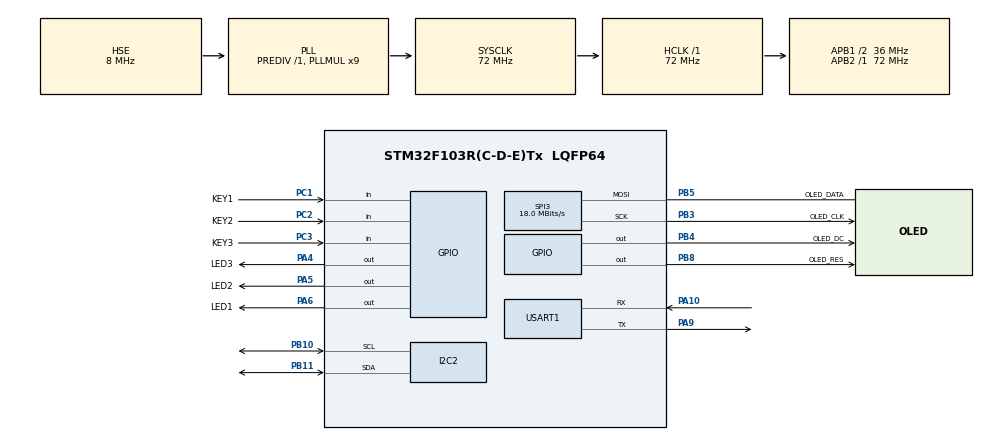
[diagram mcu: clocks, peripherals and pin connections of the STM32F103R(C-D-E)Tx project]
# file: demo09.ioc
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Dma.Request0=USART1_RX
Dma.Request1=USART1_TX
Dma.USART1_RX.0.Direction=DMA_PERIPH_TO_MEMORY
Dma.USART1_RX.0.Instance=DMA1_Channel5
Dma.USART1_RX.0.MemDataAlignment=DMA_MDATAALIGN_BYTE
Dma.USART1_RX.0.MemInc=DMA_MINC_ENABLE
Dma.USART1_RX.0.Mode=DMA_NORMAL
Dma.USART1_RX.0.PeriphDataAlignment=DMA_PDATAALIGN_BYTE
Dma.USART1_RX.0.PeriphInc=DMA_PINC_DISABLE
Dma.USART1_RX.0.Priority=DMA_PRIORITY_LOW
Dma.USART1_TX.1.Direction=DMA_MEMORY_TO_PERIPH
Dma.USART1_TX.1.Instance=DMA1_Channel4
Dma.USART1_TX.1.MemDataAlignment=DMA_MDATAALIGN_BYTE
Dma.USART1_TX.1.MemInc=DMA_MINC_ENABLE
Dma.USART1_TX.1.Mode=DMA_NORMAL
Dma.USART1_TX.1.PeriphDataAlignment=DMA_PDATAALIGN_BYTE
Dma.USART1_TX.1.PeriphInc=DMA_PINC_DISABLE
Dma.USART1_TX.1.Priority=DMA_PRIORITY_LOW
FREERTOS.Tasks01=defaultTask,24,128,StartDefaultTask,Default,NULL,Dynamic,NULL,NULL
FREERTOS.configTOTAL_HEAP_SIZE=16384
Mcu.Family=STM32F1
Mcu.Name=STM32F103R(C-D-E)Tx
Mcu.Package=LQFP64
NVIC.DMA1_Channel4_IRQn=true\:5\:0\:false\:false\:true\:true\:false\:true
NVIC.DMA1_Channel5_IRQn=true\:5\:0\:false\:false\:true\:true\:false\:true
NVIC.PriorityGroup=NVIC_PRIORITYGROUP_4
NVIC.TIM7_IRQn=true\:14\:0\:true\:false\:true\:false\:false\:true
NVIC.TimeBase=TIM7_IRQn
NVIC.TimeBaseIP=TIM7
NVIC.USART1_IRQn=true\:5\:0\:false\:false\:true\:true\:true\:true
PA10.Mode=Asynchronous
PA10.Signal=USART1_RX
PA13.Mode=Serial_Wire
PA13.Signal=SYS_JTMS-SWDIO
PA14.Mode=Serial_Wire
PA14.Signal=SYS_JTCK-SWCLK
PA4.GPIO_Label=LED3
PA4.GPIO_ModeDefaultOutputPP=GPIO_MODE_OUTPUT_PP
PA4.GPIO_PuPd=GPIO_PULLUP
PA4.PinState=GPIO_PIN_SET
PA4.Signal=GPIO_Output
PA5.GPIO_Label=LED2
PA5.GPIO_ModeDefaultOutputPP=GPIO_MODE_OUTPUT_PP
PA5.GPIO_PuPd=GPIO_PULLUP
PA5.PinState=GPIO_PIN_SET
PA5.Signal=GPIO_Output
PA6.GPIO_Label=LED1
PA6.GPIO_ModeDefaultOutputPP=GPIO_MODE_OUTPUT_PP
PA6.GPIO_PuPd=GPIO_PULLUP
PA6.PinState=GPIO_PIN_SET
PA6.Signal=GPIO_Output
PA9.Mode=Asynchronous
PA9.Signal=USART1_TX
PB10.Mode=I2C
PB10.Signal=I2C2_SCL
PB11.Mode=I2C
PB11.Signal=I2C2_SDA
PB3.GPIO_Label=OLED_CLK
PB3.Mode=Simplex_Bidirectional_Master
PB3.Signal=SPI3_SCK
PB4.GPIO_Label=OLED_DC
PB4.Signal=GPIO_Output
PB5.GPIO_Label=OLED_DATA
PB5.Mode=Simplex_Bidirectional_Master
PB5.Signal=SPI3_MOSI
PB8.GPIO_Label=OLED_RES
PB8.Signal=GPIO_Output
PC1.GPIO_Label=KEY1
PC1.Signal=GPIO_Input
PC2.GPIO_Label=KEY2
PC2.Signal=GPIO_Input
PC3.GPIO_Label=KEY3
PC3.Signal=GPIO_Input
PD0-OSC_IN.Mode=HSE-External-Oscillator
PD0-OSC_IN.Signal=RCC_OSC_IN
PD1-OSC_OUT.Mode=HSE-External-Oscillator
PD1-OSC_OUT.Signal=RCC_OSC_OUT
ProjectManager.HeapSize=0x400
ProjectManager.StackSize=0x800
ProjectManager.TargetToolchain=MDK-ARM V5.32
RCC.AHBFreq_Value=72000000
RCC.APB1CLKDivider=RCC_HCLK_DIV2
RCC.APB1Freq_Value=36000000
RCC.APB1TimFreq_Value=72000000
RCC.APB2Freq_Value=72000000
RCC.APB2TimFreq_Value=72000000
RCC.HCLKFreq_Value=72000000
RCC.PLLMUL=RCC_PLL_MUL9
RCC.PLLSourceVirtual=RCC_PLLSOURCE_HSE
RCC.SYSCLKFreq_VALUE=72000000
RCC.SYSCLKSource=RCC_SYSCLKSOURCE_PLLCLK
RCC.USBFreq_Value=72000000
SPI3.CLKPhase=SPI_PHASE_2EDGE
SPI3.CLKPolarity=SPI_POLARITY_HIGH
SPI3.CalculateBaudRate=18.0 MBits/s
SPI3.Direction=SPI_DIRECTION_1LINE
SPI3.Mode=SPI_MODE_MASTER
SPI3.VirtualType=VM_MASTER
USART1.Parity=PARITY_EVEN
USART1.VirtualMode=VM_ASYNC
USART1.WordLength=WORDLENGTH_9B
VP_FREERTOS_VS_CMSIS_V2.Mode=CMSIS_V2
VP_SYS_VS_tim7.Mode=TIM7
board=custom

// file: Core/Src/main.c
/* USER CODE BEGIN Header */
/**
  ******************************************************************************
  * @file           : main.c
  * @brief          : Main program body
  ******************************************************************************
  * @attention
  *
  * Copyright (c) 2025 STMicroelectronics.
  * All rights reserved.
  *
  * This software is licensed under terms that can be found in the LICENSE file
  * in the root directory of this software component.
  * If no LICENSE file comes with this software, it is provided AS-IS.
  *
  ******************************************************************************
  */
/* USER CODE END Header */
#include "main.h"
#include "cmsis_os.h"
#include "dma.h"
#include "i2c.h"
#include "spi.h"
#include "usart.h"
#include "gpio.h"

/* USER CODE BEGIN Includes */
#include <stdio.h>
/* USER CODE END Includes */

void SystemClock_Config(void);
void MX_FREERTOS_Init(void);

int main(void)
{

  /* MCU Configuration--------------------------------------------------------*/

  /* Reset of all peripherals, Initializes the Flash interface and the Systick. */
  HAL_Init();

  /* Configure the system clock */
  SystemClock_Config();

  /* Initialize all configured peripherals */
  MX_GPIO_Init();
  MX_DMA_Init();
  MX_USART1_UART_Init();
  MX_I2C2_Init();
  MX_SPI3_Init();
  /* USER CODE BEGIN 2 */
	// __HAL_UART_ENABLE_IT(&huart1,UART_IT_IDLE);
  /* USER CODE END 2 */

  /* Init scheduler */
  osKernelInitialize();  /* Call init function for freertos objects (in freertos.c) */
  MX_FREERTOS_Init();
  /* Start scheduler */
  osKernelStart();

  /* We should never get here as control is now taken by the scheduler */
  /* Infinite loop */
  while (1)
  {

  }
}

void SystemClock_Config(void)
{
  RCC_OscInitTypeDef RCC_OscInitStruct = {0};
  RCC_ClkInitTypeDef RCC_ClkInitStruct = {0};

  /** Initializes the RCC Oscillators according to the specified parameters
  * in the RCC_OscInitTypeDef structure.
  */
  RCC_OscInitStruct.OscillatorType = RCC_OSCILLATORTYPE_HSE;
  RCC_OscInitStruct.HSEState = RCC_HSE_ON;
  RCC_OscInitStruct.HSEPredivValue = RCC_HSE_PREDIV_DIV1;
  RCC_OscInitStruct.HSIState = RCC_HSI_ON;
  RCC_OscInitStruct.PLL.PLLState = RCC_PLL_ON;
  RCC_OscInitStruct.PLL.PLLSource = RCC_PLLSOURCE_HSE;
  RCC_OscInitStruct.PLL.PLLMUL = RCC_PLL_MUL9;
  if (HAL_RCC_OscConfig(&RCC_OscInitStruct) != HAL_OK)
  {
    Error_Handler();
  }
  /** Initializes the CPU, AHB and APB buses clocks
  */
  RCC_ClkInitStruct.ClockType = RCC_CLOCKTYPE_HCLK|RCC_CLOCKTYPE_SYSCLK
                              |RCC_CLOCKTYPE_PCLK1|RCC_CLOCKTYPE_PCLK2;
  RCC_ClkInitStruct.SYSCLKSource = RCC_SYSCLKSOURCE_PLLCLK;
  RCC_ClkInitStruct.AHBCLKDivider = RCC_SYSCLK_DIV1;
  RCC_ClkInitStruct.APB1CLKDivider = RCC_HCLK_DIV2;
  RCC_ClkInitStruct.APB2CLKDivider = RCC_HCLK_DIV1;

  if (HAL_RCC_ClockConfig(&RCC_ClkInitStruct, FLASH_LATENCY_2) != HAL_OK)
  {
    Error_Handler();
  }
}

/* USER CODE BEGIN 4 */

int fputc(int ch, FILE *f)
{
    HAL_UART_Transmit(&huart1 , (uint8_t *)&ch, 1, 0xFFFF);
    return ch;
}

/* USER CODE END 4 */

void HAL_TIM_PeriodElapsedCallback(TIM_HandleTypeDef *htim)
{
  if (htim->Instance == TIM7) {
    HAL_IncTick();
  }
}

void Error_Handler(void)
{
  __disable_irq();
  while (1)
  {
  }
}

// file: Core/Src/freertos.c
/* USER CODE BEGIN Header */
/**
  ******************************************************************************
  * File Name          : freertos.c
  * Description        : Code for freertos applications
  ******************************************************************************
  * @attention
  *
  * Copyright (c) 2025 STMicroelectronics.
  * All rights reserved.
  *
  * This software is licensed under terms that can be found in the LICENSE file
  * in the root directory of this software component.
  * If no LICENSE file comes with this software, it is provided AS-IS.
  *
  ******************************************************************************
  */
/* USER CODE END Header */

#include "FreeRTOS.h"
#include "task.h"
#include "main.h"
#include "cmsis_os.h"

/* USER CODE BEGIN Includes */
#include "led_task.h"
#include "key_task.h"
#include "i2c_GXHT3L_task.h"
#include "spi_oled_task.h"
#include "modbus_task.h"

/* USER CODE END Includes */

/* USER CODE BEGIN Variables */
extern LED_MODE_t led_mode;

/* USER CODE END Variables */
/* Definitions for defaultTask */
osThreadId_t defaultTaskHandle;
const osThreadAttr_t defaultTask_attributes = {
  .name = "defaultTask",
  .stack_size = 128 * 4,
  .priority = (osPriority_t) osPriorityNormal,
};

void StartDefaultTask(void *argument);

void MX_FREERTOS_Init(void); /* (MISRA C 2004 rule 8.1) */

void MX_FREERTOS_Init(void) {

  /* Create the thread(s) */
  /* creation of defaultTask */
  defaultTaskHandle = osThreadNew(StartDefaultTask, NULL, &defaultTask_attributes);

  /* USER CODE BEGIN RTOS_THREADS */
  /* add threads, ... */
  Led_task_init();
  key_task_init();
  i2c_GXHT3L_task_init();
  Spi_Oled_Task_Init();
  Modbus_Task_init();

	vTaskStartScheduler();
  /* USER CODE END RTOS_THREADS */

}

void StartDefaultTask(void *argument)
{
  for(;;)
  {
    osDelay(1);
  }
}
